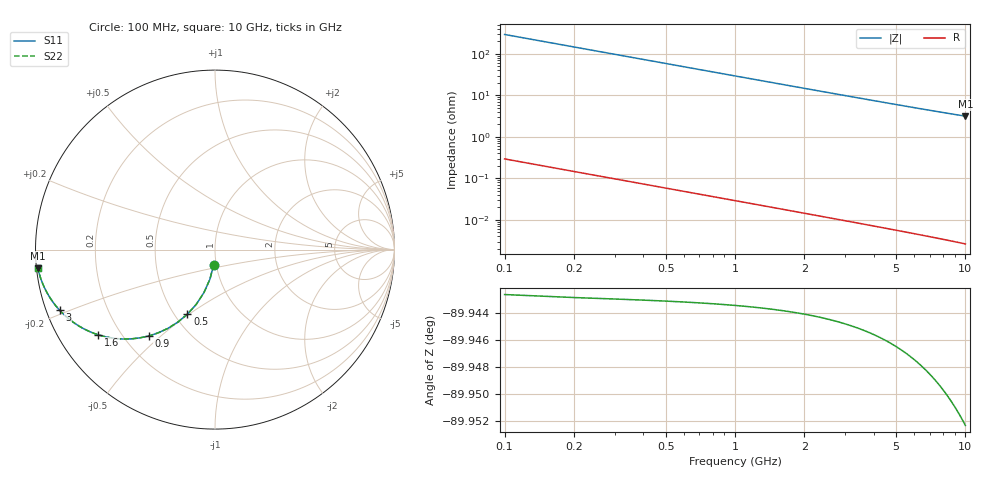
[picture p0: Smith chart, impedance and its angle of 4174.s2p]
# Hz S RI R 50.00
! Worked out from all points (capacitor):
!   100 points, 100 MHz to 10 GHz, reference 50 ohm
!   read as one part in shunt: C = 5.43 pF near 100 MHz
!   lowest |Z| = 3.15 ohm at 10 GHz (marker M1)
!   S11 on the Smith chart (normalised r, x): 100 MHz: 0.97, -0.17; 500 MHz: 0.58, -0.49; 900 MHz: 0.30, -0.46; 1.6 GHz: 0.12, -0.32; 3 GHz: 0.04, -0.19; 10 GHz: 0.00, -0.05
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1e8  -0.00728 -0.0845  0.9927 -0.0847  0.9927 -0.0847  -0.00728 -0.0845
2e8  -0.0284 -0.1654  0.9716 -0.1658  0.9716 -0.1658  -0.0284 -0.1654
3e8  -0.0616 -0.2396  0.9384 -0.2402  0.9384 -0.2402  -0.0616 -0.2396
4e8  -0.1044 -0.3049  0.8956 -0.3056  0.8956 -0.3056  -0.1044 -0.3049
5e8  -0.1539 -0.3599  0.8461 -0.3608  0.8461 -0.3608  -0.1539 -0.3599
6e8  -0.2074 -0.4044  0.7925 -0.4055  0.7925 -0.4055  -0.2074 -0.4044
7e8  -0.2625 -0.4389  0.7375 -0.4402  0.7375 -0.4402  -0.2625 -0.4389
9e8  -0.3701 -0.4815  0.6298 -0.4832  0.6298 -0.4832  -0.3701 -0.4815
1.2e9  -0.5105 -0.4983  0.4895 -0.5005  0.4895 -0.5005  -0.5105 -0.4983
1.4e9  -0.5864 -0.4907  0.4135 -0.4933  0.4135 -0.4933  -0.5864 -0.4907
1.6e9  -0.6491 -0.4752  0.3508 -0.4782  0.3508 -0.4782  -0.6491 -0.4752
1.8e9  -0.7005 -0.4558  0.2994 -0.4592  0.2994 -0.4592  -0.7005 -0.4558
2e9  -0.7426 -0.4348  0.2574 -0.4386  0.2574 -0.4386  -0.7426 -0.4348
2.3e9  -0.7921 -0.4031  0.2078 -0.4074  0.2078 -0.4074  -0.7921 -0.4031
2.6e9  -0.8295 -0.3731  0.1705 -0.378  0.1705 -0.378  -0.8295 -0.3731
3e9  -0.8661 -0.3372  0.1339 -0.3429  0.1339 -0.3429  -0.8661 -0.3372
3.4e9  -0.8924 -0.306  0.1075 -0.3125  0.1075 -0.3125  -0.8924 -0.306
4.2e9  -0.9267 -0.256  0.0732 -0.2641  0.0732 -0.2641  -0.9267 -0.256
5.1e9  -0.9491 -0.2143  0.0508 -0.2242  0.0508 -0.2242  -0.9491 -0.2143
6.7e9  -0.9699 -0.1636  0.03 -0.1767  0.03 -0.1767  -0.9699 -0.1636
8.4e9  -0.9808 -0.1282  0.0191 -0.1448  0.0191 -0.1448  -0.9808 -0.1282
1e10  -0.9865 -0.1045  0.0133 -0.1246  0.0133 -0.1246  -0.9865 -0.1045
